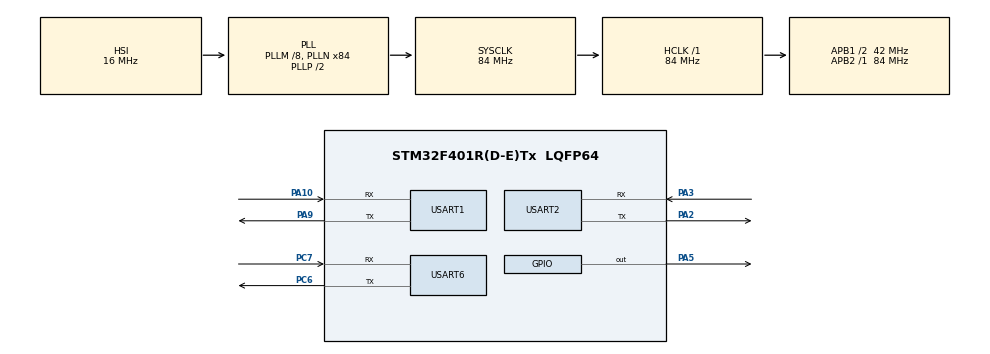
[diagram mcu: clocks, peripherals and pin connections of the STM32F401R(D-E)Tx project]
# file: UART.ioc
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FREERTOS.Tasks01=myTask01,0,128,StartDefaultTask,Default,NULL,Dynamic,NULL,NULL;myTask02,-3,128,StartTask02,Default,NULL,Dynamic,NULL,NULL;myTask03,-3,128,StartTask03,Default,NULL,Dynamic,NULL,NULL
Mcu.Family=STM32F4
Mcu.Name=STM32F401R(D-E)Tx
Mcu.Package=LQFP64
NVIC.PriorityGroup=NVIC_PRIORITYGROUP_4
NVIC.USART1_IRQn=true\:5\:0\:false\:false\:true\:true\:true\:true\:true
NVIC.USART2_IRQn=true\:5\:0\:false\:false\:true\:true\:true\:true\:true
NVIC.USART6_IRQn=true\:5\:0\:false\:false\:true\:true\:true\:true\:true
PA10.Mode=Asynchronous
PA10.Signal=USART1_RX
PA2.Mode=Asynchronous
PA2.Signal=USART2_TX
PA3.Mode=Asynchronous
PA3.Signal=USART2_RX
PA5.Signal=GPIO_Output
PA9.Mode=Asynchronous
PA9.Signal=USART1_TX
PC6.Mode=Asynchronous
PC6.Signal=USART6_TX
PC7.Mode=Asynchronous
PC7.Signal=USART6_RX
ProjectManager.HeapSize=0x200
ProjectManager.StackSize=0x400
ProjectManager.TargetToolchain=MDK-ARM V5.32
RCC.48MHZClocksFreq_Value=42000000
RCC.AHBFreq_Value=84000000
RCC.APB1CLKDivider=RCC_HCLK_DIV2
RCC.APB1Freq_Value=42000000
RCC.APB1TimFreq_Value=84000000
RCC.APB2Freq_Value=84000000
RCC.APB2TimFreq_Value=84000000
RCC.CortexFreq_Value=84000000
RCC.HCLKFreq_Value=84000000
RCC.HSE_VALUE=25000000
RCC.HSI_VALUE=16000000
RCC.LSE_VALUE=32768
RCC.PLLM=8
RCC.PLLN=84
RCC.SYSCLKFreq_VALUE=84000000
RCC.SYSCLKSource=RCC_SYSCLKSOURCE_PLLCLK
RCC.VCOOutputFreq_Value=168000000
USART1.VirtualMode=VM_ASYNC
USART2.VirtualMode=VM_ASYNC
USART6.VirtualMode=VM_ASYNC
VP_FREERTOS_VS_CMSIS_V1.Mode=CMSIS_V1
board=custom

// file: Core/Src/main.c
/* USER CODE BEGIN Header */
/**
  ******************************************************************************
  * @file           : main.c
  * @brief          : Main program body
  ******************************************************************************
  * @attention
  *
  * Copyright (c) 2022 STMicroelectronics.
  * All rights reserved.
  *
  * This software is licensed under terms that can be found in the LICENSE file
  * in the root directory of this software component.
  * If no LICENSE file comes with this software, it is provided AS-IS.
  *
  ******************************************************************************
  */
/* USER CODE END Header */
#include "main.h"
#include "cmsis_os.h"

/* USER CODE BEGIN PM */

/* GPIO Struct Define here */
static GPIO_InitTypeDef  GPIO_InitStruct;
/* UART Channel Define here*/
 UART_HandleTypeDef huart1;
UART_HandleTypeDef huart2;
UART_HandleTypeDef huart6;

uint16_t buf[30];
/* USER CODE BEGIN PV */
HAL_StatusTypeDef uart_send_msg(char *user_data,UART_HandleTypeDef *huart);
/* USER CODE END PV */

void SystemClock_Config(void);
void MQTT_Init(void);
static void MX_GPIO_Init(void);
static void MX_USART1_UART_Init(void);
static void MX_USART2_UART_Init(void);
static void MX_USART6_UART_Init(void);
void RTOS_Initliaze(void);
/* Connect to MQTT server method */
void Mqtt_connect(char*A,char *MQTTID, char *Server_Host,char *PORT);
/* USER CODE END PFP */

int main(void)
{

  /* MCU Configuration--------------------------------------------------------*/

  /* Reset of all peripherals, Initializes the Flash interface and the Systick. */
  HAL_Init();

  /* Configure the system clock */
  SystemClock_Config();

  /* Initialize all configured peripherals */
  MX_GPIO_Init();
  MX_USART1_UART_Init();
  MX_USART2_UART_Init();
  MX_USART6_UART_Init();
  /* USER CODE BEGIN 2 */
  ESP_Init("Astbel","a4633214");
  //  Mqtt_connect("4","TCP,","test.mosquitto.org,","1883");
  ESP_Send_Data();
  // PUblish_TO_MQTT();
  /* USER CODE END 2 */
  RTOS_Initliaze();

  // osKernelInitialize();

  /* Start scheduler */
  osKernelStart();

  /* We should never get here as control is now taken by the scheduler */
  /* Infinite loop */
  /* USER CODE BEGIN WHILE */
  while (1)
  {

  }

}

void SystemClock_Config(void)
{
  RCC_OscInitTypeDef RCC_OscInitStruct = {0};
  RCC_ClkInitTypeDef RCC_ClkInitStruct = {0};

  /** Configure the main internal regulator output voltage
  */
  __HAL_RCC_PWR_CLK_ENABLE();
  __HAL_PWR_VOLTAGESCALING_CONFIG(PWR_REGULATOR_VOLTAGE_SCALE2);

  /** Initializes the RCC Oscillators according to the specified parameters
  * in the RCC_OscInitTypeDef structure.
  */
  RCC_OscInitStruct.OscillatorType = RCC_OSCILLATORTYPE_HSI;
  RCC_OscInitStruct.HSIState = RCC_HSI_ON;
  RCC_OscInitStruct.HSICalibrationValue = RCC_HSICALIBRATION_DEFAULT;
  RCC_OscInitStruct.PLL.PLLState = RCC_PLL_ON;
  RCC_OscInitStruct.PLL.PLLSource = RCC_PLLSOURCE_HSI;
  RCC_OscInitStruct.PLL.PLLM = 8;
  RCC_OscInitStruct.PLL.PLLN = 84;
  RCC_OscInitStruct.PLL.PLLP = RCC_PLLP_DIV2;
  RCC_OscInitStruct.PLL.PLLQ = 4;
  if (HAL_RCC_OscConfig(&RCC_OscInitStruct) != HAL_OK)
  {
    Error_Handler();
  }

  /** Initializes the CPU, AHB and APB buses clocks
  */
  RCC_ClkInitStruct.ClockType = RCC_CLOCKTYPE_HCLK|RCC_CLOCKTYPE_SYSCLK
                              |RCC_CLOCKTYPE_PCLK1|RCC_CLOCKTYPE_PCLK2;
  RCC_ClkInitStruct.SYSCLKSource = RCC_SYSCLKSOURCE_PLLCLK;
  RCC_ClkInitStruct.AHBCLKDivider = RCC_SYSCLK_DIV1;
  RCC_ClkInitStruct.APB1CLKDivider = RCC_HCLK_DIV2;
  RCC_ClkInitStruct.APB2CLKDivider = RCC_HCLK_DIV1;

  if (HAL_RCC_ClockConfig(&RCC_ClkInitStruct, FLASH_LATENCY_2) != HAL_OK)
  {
    Error_Handler();
  }
}

static void MX_USART1_UART_Init(void)
{

  huart1.Instance = USART1;
  huart1.Init.BaudRate = 115200;
  huart1.Init.WordLength = UART_WORDLENGTH_8B;
  huart1.Init.StopBits = UART_STOPBITS_1;
  huart1.Init.Parity = UART_PARITY_NONE;
  huart1.Init.Mode = UART_MODE_TX_RX;
  huart1.Init.HwFlowCtl = UART_HWCONTROL_NONE;
  huart1.Init.OverSampling = UART_OVERSAMPLING_16;
  if (HAL_UART_Init(&huart1) != HAL_OK)
  {
    Error_Handler();
  }

}

static void MX_USART2_UART_Init(void)
{

  huart2.Instance = USART2;
  huart2.Init.BaudRate = 115200;
  huart2.Init.WordLength = UART_WORDLENGTH_8B;
  huart2.Init.StopBits = UART_STOPBITS_1;
  huart2.Init.Parity = UART_PARITY_NONE;
  huart2.Init.Mode = UART_MODE_TX_RX;
  huart2.Init.HwFlowCtl = UART_HWCONTROL_NONE;
  huart2.Init.OverSampling = UART_OVERSAMPLING_16;
  if (HAL_UART_Init(&huart2) != HAL_OK)
  {
    Error_Handler();
  }

}

static void MX_USART6_UART_Init(void)
{

  huart6.Instance = USART6;
  huart6.Init.BaudRate = 115200;
  huart6.Init.WordLength = UART_WORDLENGTH_8B;
  huart6.Init.StopBits = UART_STOPBITS_1;
  huart6.Init.Parity = UART_PARITY_NONE;
  huart6.Init.Mode = UART_MODE_TX_RX;
  huart6.Init.HwFlowCtl = UART_HWCONTROL_NONE;
  huart6.Init.OverSampling = UART_OVERSAMPLING_16;
  if (HAL_UART_Init(&huart6) != HAL_OK)
  {
    Error_Handler();
  }

}

static void MX_GPIO_Init(void)
{

  /* GPIO Ports Clock Enable */
  __HAL_RCC_GPIOA_CLK_ENABLE();
  __HAL_RCC_GPIOC_CLK_ENABLE();

    /*Configure GPIO pin Output Level */
  /*Configure GPIO pin : PA5 */
  GPIO_InitStruct.Pin = GPIO_PIN_5;
  GPIO_InitStruct.Mode = GPIO_MODE_OUTPUT_PP;
  GPIO_InitStruct.Pull = GPIO_NOPULL;
  GPIO_InitStruct.Speed = GPIO_SPEED_FREQ_LOW;
  HAL_GPIO_Init(GPIOA, &GPIO_InitStruct);

}

/* USER CODE BEGIN 4 */
HAL_StatusTypeDef uart_send_msg(char *user_data,UART_HandleTypeDef *huart)
{
if (huart==device_uart)
{
  	// HAL_StatusTypeDef Status;
	 HAL_UART_Transmit_IT(&huart1, (uint8_t*)user_data,
			strlen(user_data));
}
else if (huart==test_uart)
{
  	// HAL_StatusTypeDef Status;
 HAL_UART_Transmit_IT(&huart6, (uint8_t*)user_data,
			strlen(user_data));
}

}
/* USER CODE END 4 */

//Connect to MQtt server
void Mqtt_connect(char*A,char *MQTTID, char *Server_Host,char *PORT)
{
  char mqtt_data[80];
  /********* AT+CIPMUX=1 **********/
	Uart_sendstring("AT+CIPMUX=1\r\n", device_uart);
	while (!(Wait_for("AT+CIPMUX=1\r\r\n\r\nOK\r\n", device_uart)));
	Uart_sendstring("set as multiconnect mode\n\n", pc_uart);

  /********* AT+CIPSTART **********/
  Uart_sendstring("connecting... to mqtt broker\n", pc_uart);
  // sprintf (mqtt_data,"AT+CIPSTART=\"%s\",\"%s\",\"%s\",\"%s\"\r\n",A,MQTTID,Server_Host,PORT);
  // Uart_sendstring(mqtt_data, device_uart);
  Uart_sendstring("AT+CIPSTART=4,\"TCP\",\"test.mosquitto.org\",1883\r\n", device_uart);
  while (!(Wait_for("OK\r\n", device_uart)));
  Uart_sendstring("STM32 Connect server complete\n\n", pc_uart);

}

void Error_Handler(void)
{
  __disable_irq();
  while (1)
  {
  }
}

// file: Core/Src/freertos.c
/* USER CODE BEGIN Header */
/**
  ******************************************************************************
  * File Name          : freertos.c
  * Description        : Code for freertos applications
  ******************************************************************************
  * @attention
  *
  * Copyright (c) 2022 STMicroelectronics.
  * All rights reserved.
  *
  * This software is licensed under terms that can be found in the LICENSE file
  * in the root directory of this software component.
  * If no LICENSE file comes with this software, it is provided AS-IS.
  *
  ******************************************************************************
  */
/* USER CODE END Header */

#include "FreeRTOS.h"
#include "task.h"
#include "main.h"
#include "cmsis_os.h"

/* USER CODE BEGIN PTD */
osThreadId myTask01Handle;
osThreadId myTask02Handle;
osThreadId myTask03Handle;
/* USER CODE END PTD */

void RTOS_Initliaze(void);
/* GetIdleTaskMemory prototype (linked to static allocation support) */
void vApplicationGetIdleTaskMemory( StaticTask_t **ppxIdleTaskTCBBuffer, StackType_t **ppxIdleTaskStackBuffer, uint32_t *pulIdleTaskStackSize );
void StartDefaultTask(void const * argument);
void StartTask02(void const * argument);
void StartTask03(void const * argument);
/* USER CODE BEGIN GET_IDLE_TASK_MEMORY */
static StaticTask_t xIdleTaskTCBBuffer;
static StackType_t xIdleStack[configMINIMAL_STACK_SIZE];
//Send Data to Mqtt server method
void ESP_Send_Data(void);

void vApplicationGetIdleTaskMemory( StaticTask_t **ppxIdleTaskTCBBuffer, StackType_t **ppxIdleTaskStackBuffer, uint32_t *pulIdleTaskStackSize )
{
  *ppxIdleTaskTCBBuffer = &xIdleTaskTCBBuffer;
  *ppxIdleTaskStackBuffer = &xIdleStack[0];
  *pulIdleTaskStackSize = configMINIMAL_STACK_SIZE;
  /* place for user code */
}
/* USER CODE END GET_IDLE_TASK_MEMORY */
void RTOS_Initliaze(void)
{
  osThreadDef(myTask01, StartDefaultTask, osPriorityNormal, 0, 128);
  myTask01Handle = osThreadCreate(osThread(myTask01), NULL);

  /* definition and creation of myTask02 */
  osThreadDef(myTask02, StartTask02, osPriorityIdle, 0, 128);
  myTask02Handle = osThreadCreate(osThread(myTask02), NULL);

  /* definition and creation of myTask03 */
  osThreadDef(myTask03, StartTask03, osPriorityIdle, 0, 128);
  myTask03Handle = osThreadCreate(osThread(myTask03), NULL);
}

/*  ------------------RTOS Task Here--------------------------------*/
/* USER CODE BEGIN Application */
/* USER CODE BEGIN Header_StartDefaultTask */
/**
  * @brief  Function implementing the myTask01 thread.
  * @param  argument: Not used
  * @retval None
  */
/* USER CODE END Header_StartDefaultTask */
void StartDefaultTask(void const * argument)
{
  /* USER CODE BEGIN 5 */
  /* Infinite loop */
  for(;;)
  {
    HAL_GPIO_TogglePin(GPIOA,GPIO_PIN_5);
    osDelay(100);
  }
  /* USER CODE END 5 */
}

/* USER CODE BEGIN Header_StartTask02 */
/**
* @brief Function implementing the myTask02 thread.
* @param argument: Not used
* @retval None
*/
/* USER CODE END Header_StartTask02 */
void StartTask02(void const * argument)
{
  /* USER CODE BEGIN StartTask02 */
  /* Infinite loop */
  for(;;)
  {
     if (IsDataAvailable(pc_uart))
	  {
		  int data = Uart_read(pc_uart);
		  Uart_write(data, device_uart);
	  }

	  if (IsDataAvailable(device_uart))
	  {
		  // if (Get_after("AT version:", 8, buffer, wifi_uart))
		  // {
			//   Uart_sendstring("AT VERSION=", pc_uart);
			//   Uart_sendstring(buffer, pc_uart);
		  // }

		  int data = Uart_read(device_uart);
		  Uart_write(data, pc_uart);
	  }
    osDelay(200);
  }
  /* USER CODE END StartTask02 */
}

/* USER CODE BEGIN Header_StartTask03 */
/**
* @brief Function implementing the myTask03 thread.
* @param argument: Not used
* @retval None
*/
/* USER CODE END Header_StartTask03 */
void StartTask03(void const * argument)
{
  /* USER CODE BEGIN StartTask03 */
  /* Infinite loop */
  for(;;)
  {
    PUblish_TO_MQTT();
    // ESP_Send_Data();
    osDelay(200);
  }
  /* USER CODE END StartTask03 */
}
/* USER CODE END Application */

void ESP_Send_Data(void)
{
  //
  char mqtt_data[80];
  /********* AT+CIPMUX=1 **********/
	Uart_sendstring("AT+CIPMUX=1\r\n", device_uart);
	while (!(Wait_for("AT+CIPMUX=1\r\r\n\r\nOK\r\n", device_uart)));
	Uart_sendstring("set as multiconnect mode\n\n", pc_uart);

  /********* AT+CIPSTART  connect to mqtt broker**********/
  Uart_sendstring("connecting... to mqtt broker\n", pc_uart);
  Uart_sendstring("AT+CIPSTART=4,\"TCP\",\"test.mosquitto.org\",1883\r\n", device_uart);
  while (!(Wait_for("CONNECT\r\n\r\nOK\r\n", device_uart)));
  Uart_sendstring("STM32 Connect server complete\n\n", pc_uart);

  /********* AT+CIPSEND **********/
  Uart_sendstring("AT+CIPSEND=4,36\r\n", device_uart);
  while (!(Wait_for(">",device_uart)));

  //connect to mqtt server
  MQTT_Connect();

  // while (!(Wait_for("SEND OK\r\n",device_uart)));
  // while (!(Wait_for("CLOSED",device_uart)));
  // Uart_sendstring("MQTT disconnect to server\n\n", pc_uart);

}
